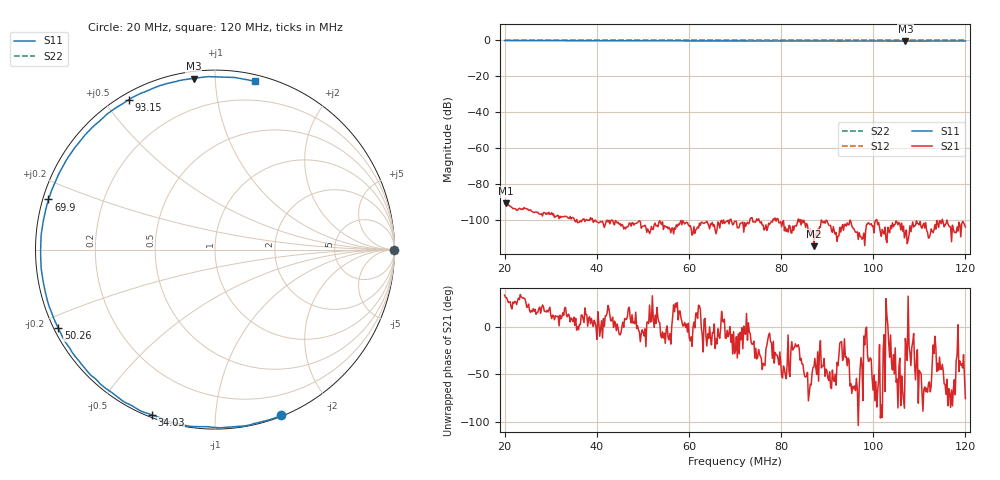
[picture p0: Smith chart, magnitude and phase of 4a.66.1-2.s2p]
! Anritsu VNA Master:  Model: MS2036C/10/77
! SN:  1601066
! /bd0/18may26.balun/4a.66.s2p
! Existing Calibration Information:
! TYPE:  Current Settings,  Active Cal Settings
! TIME:  05/26/2018 03:03:01 PM,  05/26/2018 02:51:55 PM
! INTERNAL TEMP:  59.5 C,  59.5 C
! # POINTS:  500,  500
! START FREQ:  20.000 MHz,  20.000 MHz
! STOP FREQ:  120.000 MHz,  120.000 MHz
! SOURCE POWER:  High,  High
! IFBW:  50 Hz,  50 Hz
! AVG FACTOR:  1 ,  1
! REF PLANE 1:  0 mm,  0 mm
! REF PLANE 2:  0 mm,  0 mm
! CAL TYPE:  Full S11,  Full S11
! CAL METHOD:  SOLT,  SOLT
! CAL LINE TYPE:  Coax,  Coax
! DUT PORT 1:  K-Conn(M),  K-Conn(M)
! DUT PORT 2:  K-Conn(M),  K-Conn(M)
! CAL STATUS:  OK: Accuracy High,  --
# GHZ S DB R 50.0
! FREQ.GHZ  S11DB  S11A  S21DB  S21A  S12DB  S12A  S22DB  S22A
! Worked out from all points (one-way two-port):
!   500 points, 20 MHz to 120 MHz, reference 50 ohm
!   highest |S21| = -90.56 dB at 20.2 MHz (marker M1); lowest = -114.3 dB at 87.13 MHz (marker M2)
!   lowest |S11| = -0.3 dB at 107 MHz (marker M3), VSWR 49.78, Z = 1.79 + j44.1 ohm
!   |S11| at or under -10 dB: nowhere
!   |S22| runs from 0.0 to 0.0 dB; largest |S21 - S12| = 1
!   S11 on the Smith chart (normalised r, x): 20 MHz: 0.01, -1.47; 34.03 MHz: 0.01, -0.69; 50.26 MHz: 0.01, -0.24; 69.9 MHz: 0.02, +0.15; 93.15 MHz: 0.02, +0.58; 120 MHz: 0.05, +1.26
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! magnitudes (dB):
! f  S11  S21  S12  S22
! 20 MHz  0.0  -90.8  0.0  0.0
! 20.2 MHz  0.0  -90.6  0.0  0.0
! 23.81 MHz  0.0  -93.5  0.0  0.0
! 27.82 MHz  -0.1  -96.5  0.0  0.0
! 29.62 MHz  0.0  -95.5  0.0  0.0
! 34.03 MHz  -0.1  -98.9  0.0  0.0
! 35.23 MHz  -0.1  -100.3  0.0  0.0
! 36.83 MHz  -0.1  -99.7  0.0  0.0
! 37.64 MHz  -0.1  -99.6  0.0  0.0
! 50.26 MHz  -0.2  -103.0  0.0  0.0
! 53.47 MHz  -0.2  -101.2  0.0  0.0
! 69.9 MHz  -0.3  -100.6  0.0  0.0
! 70.1 MHz  -0.3  -100.5  0.0  0.0
! 86.73 MHz  -0.3  -107.1  0.0  0.0
! 87.13 MHz  -0.3  -114.3  0.0  0.0
! 93.15 MHz  -0.3  -104.1  0.0  0.0
! 103.4 MHz  -0.3  -106.1  0.0  0.0
! 107 MHz  -0.3  -107.3  0.0  0.0
! 110 MHz  -0.3  -102.4  0.0  0.0
! 112.6 MHz  -0.3  -104.7  0.0  0.0
! 115.4 MHz  -0.3  -103.5  0.0  0.0
! 120 MHz  -0.3  -103.6  0.0  0.0
